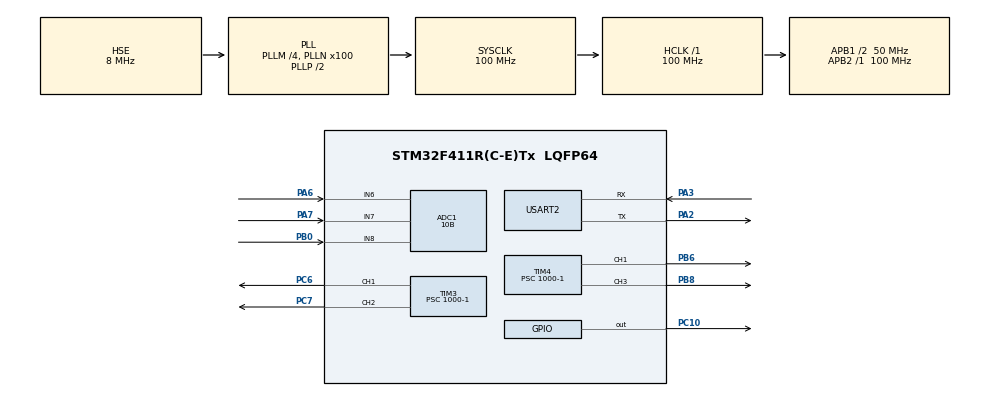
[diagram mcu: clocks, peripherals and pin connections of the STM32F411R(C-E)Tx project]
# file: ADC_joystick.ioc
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ADC1.Channel-0\#ChannelRegularConversion=ADC_CHANNEL_7
ADC1.Channel-1\#ChannelRegularConversion=ADC_CHANNEL_6
ADC1.Channel-2\#ChannelRegularConversion=ADC_CHANNEL_8
ADC1.ContinuousConvMode=ENABLE
ADC1.DMAContinuousRequests=ENABLE
ADC1.NbrOfConversion=3
ADC1.NbrOfConversionFlag=1
ADC1.Rank-0\#ChannelRegularConversion=1
ADC1.Rank-1\#ChannelRegularConversion=2
ADC1.Rank-2\#ChannelRegularConversion=3
ADC1.Resolution=ADC_RESOLUTION_10B
ADC1.SamplingTime-0\#ChannelRegularConversion=ADC_SAMPLETIME_112CYCLES
ADC1.SamplingTime-1\#ChannelRegularConversion=ADC_SAMPLETIME_112CYCLES
ADC1.SamplingTime-2\#ChannelRegularConversion=ADC_SAMPLETIME_15CYCLES
ADC1.ScanConvMode=ENABLE
ADC1.master=1
Dma.ADC1.0.Direction=DMA_PERIPH_TO_MEMORY
Dma.ADC1.0.FIFOMode=DMA_FIFOMODE_DISABLE
Dma.ADC1.0.Instance=DMA2_Stream0
Dma.ADC1.0.MemDataAlignment=DMA_MDATAALIGN_HALFWORD
Dma.ADC1.0.MemInc=DMA_MINC_ENABLE
Dma.ADC1.0.Mode=DMA_CIRCULAR
Dma.ADC1.0.PeriphDataAlignment=DMA_PDATAALIGN_HALFWORD
Dma.ADC1.0.PeriphInc=DMA_PINC_DISABLE
Dma.ADC1.0.Priority=DMA_PRIORITY_LOW
Dma.Request0=ADC1
Mcu.Family=STM32F4
Mcu.Name=STM32F411R(C-E)Tx
Mcu.Package=LQFP64
NVIC.DMA2_Stream0_IRQn=true\:0\:0\:false\:false\:true\:false\:true\:true
NVIC.PriorityGroup=NVIC_PRIORITYGROUP_4
NVIC.USART2_IRQn=true\:0\:0\:false\:false\:true\:true\:true\:true
PA13.Mode=Serial_Wire
PA13.Signal=SYS_JTMS-SWDIO
PA14.Mode=Serial_Wire
PA14.Signal=SYS_JTCK-SWCLK
PA2.Mode=Asynchronous
PA2.Signal=USART2_TX
PA3.Mode=Asynchronous
PA3.Signal=USART2_RX
PA6.Signal=ADCx_IN6
PA7.Signal=ADCx_IN7
PB0.Signal=ADCx_IN8
PB6.Signal=S_TIM4_CH1
PB8.Signal=S_TIM4_CH3
PC10.Signal=GPIO_Output
PC6.Signal=S_TIM3_CH1
PC7.Signal=S_TIM3_CH2
PH0\ -\ OSC_IN.Mode=HSE-External-Oscillator
PH0\ -\ OSC_IN.Signal=RCC_OSC_IN
PH1\ -\ OSC_OUT.Mode=HSE-External-Oscillator
PH1\ -\ OSC_OUT.Signal=RCC_OSC_OUT
ProjectManager.HeapSize=0x200
ProjectManager.StackSize=0x400
ProjectManager.TargetToolchain=STM32CubeIDE
RCC.48MHZClocksFreq_Value=50000000
RCC.AHBFreq_Value=100000000
RCC.APB1CLKDivider=RCC_HCLK_DIV2
RCC.APB1Freq_Value=50000000
RCC.APB1TimFreq_Value=100000000
RCC.APB2Freq_Value=100000000
RCC.APB2TimFreq_Value=100000000
RCC.CortexFreq_Value=100000000
RCC.HCLKFreq_Value=100000000
RCC.HSE_VALUE=8000000
RCC.HSI_VALUE=16000000
RCC.LSE_VALUE=32768
RCC.PLLM=4
RCC.PLLN=100
RCC.PLLSourceVirtual=RCC_PLLSOURCE_HSE
RCC.SYSCLKFreq_VALUE=100000000
RCC.SYSCLKSource=RCC_SYSCLKSOURCE_PLLCLK
RCC.VCOOutputFreq_Value=200000000
SH.ADCx_IN6.0=ADC1_IN6,IN6
SH.ADCx_IN7.0=ADC1_IN7,IN7
SH.ADCx_IN8.0=ADC1_IN8,IN8
SH.S_TIM3_CH1.0=TIM3_CH1,PWM Generation1 CH1
SH.S_TIM3_CH2.0=TIM3_CH2,PWM Generation2 CH2
SH.S_TIM4_CH1.0=TIM4_CH1,PWM Generation1 CH1
SH.S_TIM4_CH3.0=TIM4_CH3,PWM Generation3 CH3
TIM3.Channel-PWM\ Generation1\ CH1=TIM_CHANNEL_1
TIM3.Channel-PWM\ Generation2\ CH2=TIM_CHANNEL_2
TIM3.Period=500-1
TIM3.Prescaler=1000-1
TIM4.Channel-PWM\ Generation1\ CH1=TIM_CHANNEL_1
TIM4.Channel-PWM\ Generation3\ CH3=TIM_CHANNEL_3
TIM4.Period=500-1
TIM4.Prescaler=1000-1
USART2.VirtualMode=VM_ASYNC
VP_TIM3_VS_ClockSourceINT.Mode=Internal
VP_TIM4_VS_ClockSourceINT.Mode=Internal
board=custom

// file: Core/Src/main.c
/* USER CODE BEGIN Header */
/**
  ******************************************************************************
  * @file           : main.c
  * @brief          : Main program body
  ******************************************************************************
  * @attention
  *
  * Copyright (c) 2023 STMicroelectronics.
  * All rights reserved.
  *
  * This software is licensed under terms that can be found in the LICENSE file
  * in the root directory of this software component.
  * If no LICENSE file comes with this software, it is provided AS-IS.
  *
  ******************************************************************************
  */
/* USER CODE END Header */
#include "main.h"
#include "adc.h"
#include "dma.h"
#include "tim.h"
#include "usart.h"
#include "gpio.h"

/* USER CODE BEGIN PV */
uint16_t adcValue[3];
/* USER CODE END PV */

void SystemClock_Config(void);

int main(void)
{

  /* MCU Configuration--------------------------------------------------------*/

  /* Reset of all peripherals, Initializes the Flash interface and the Systick. */
  HAL_Init();

  /* Configure the system clock */
  SystemClock_Config();

  /* Initialize all configured peripherals */
  MX_GPIO_Init();
  MX_DMA_Init();
  MX_ADC1_Init();
  MX_USART2_UART_Init();
  MX_TIM3_Init();
  MX_TIM4_Init();
  /* USER CODE BEGIN 2 */
  HAL_ADC_Start_DMA(&hadc1, adcValue, 3);
  HAL_TIM_PWM_Start(&htim3, TIM_CHANNEL_1);
  HAL_TIM_PWM_Start(&htim4, TIM_CHANNEL_1);
  HAL_TIM_PWM_Start(&htim3, TIM_CHANNEL_2);
  HAL_TIM_PWM_Start(&htim4, TIM_CHANNEL_3);
  /* USER CODE END 2 */

  /* Infinite loop */
  while (1)
  {

    /* USER CODE BEGIN 3 */

    if(adcValue[1]<450)
    {
      TIM3->CCR1 = 450-adcValue[1];
    }
    else if(adcValue[1]>550)
    {
      TIM3->CCR2 = adcValue[1]-550;
    }
    else{
      TIM3->CCR1 = 0;
      TIM3->CCR2 = 0;
    }
    if(adcValue[0]<450)
    {
      TIM4->CCR1 = 450-adcValue[0];
    }
    else if(adcValue[0]>550)
    {
      TIM4->CCR3 = adcValue[0]-550;
    }
    else{
      TIM4->CCR1 = 0;
      TIM4->CCR3 = 0;
    }
    if(adcValue[2]==0)
    {
      HAL_Delay(100);
      if(adcValue[2]==0)
      {
	HAL_GPIO_TogglePin(GPIOC, GPIO_PIN_10);
      }
    }

  }
  /* USER CODE END 3 */
}

void SystemClock_Config(void)
{
  RCC_OscInitTypeDef RCC_OscInitStruct = {0};
  RCC_ClkInitTypeDef RCC_ClkInitStruct = {0};

  /** Configure the main internal regulator output voltage
  */
  __HAL_RCC_PWR_CLK_ENABLE();
  __HAL_PWR_VOLTAGESCALING_CONFIG(PWR_REGULATOR_VOLTAGE_SCALE1);

  /** Initializes the RCC Oscillators according to the specified parameters
  * in the RCC_OscInitTypeDef structure.
  */
  RCC_OscInitStruct.OscillatorType = RCC_OSCILLATORTYPE_HSE;
  RCC_OscInitStruct.HSEState = RCC_HSE_ON;
  RCC_OscInitStruct.PLL.PLLState = RCC_PLL_ON;
  RCC_OscInitStruct.PLL.PLLSource = RCC_PLLSOURCE_HSE;
  RCC_OscInitStruct.PLL.PLLM = 4;
  RCC_OscInitStruct.PLL.PLLN = 100;
  RCC_OscInitStruct.PLL.PLLP = RCC_PLLP_DIV2;
  RCC_OscInitStruct.PLL.PLLQ = 4;
  if (HAL_RCC_OscConfig(&RCC_OscInitStruct) != HAL_OK)
  {
    Error_Handler();
  }

  /** Initializes the CPU, AHB and APB buses clocks
  */
  RCC_ClkInitStruct.ClockType = RCC_CLOCKTYPE_HCLK|RCC_CLOCKTYPE_SYSCLK
                              |RCC_CLOCKTYPE_PCLK1|RCC_CLOCKTYPE_PCLK2;
  RCC_ClkInitStruct.SYSCLKSource = RCC_SYSCLKSOURCE_PLLCLK;
  RCC_ClkInitStruct.AHBCLKDivider = RCC_SYSCLK_DIV1;
  RCC_ClkInitStruct.APB1CLKDivider = RCC_HCLK_DIV2;
  RCC_ClkInitStruct.APB2CLKDivider = RCC_HCLK_DIV1;

  if (HAL_RCC_ClockConfig(&RCC_ClkInitStruct, FLASH_LATENCY_3) != HAL_OK)
  {
    Error_Handler();
  }
}

void Error_Handler(void)
{
  __disable_irq();
  while (1)
  {
  }
}
